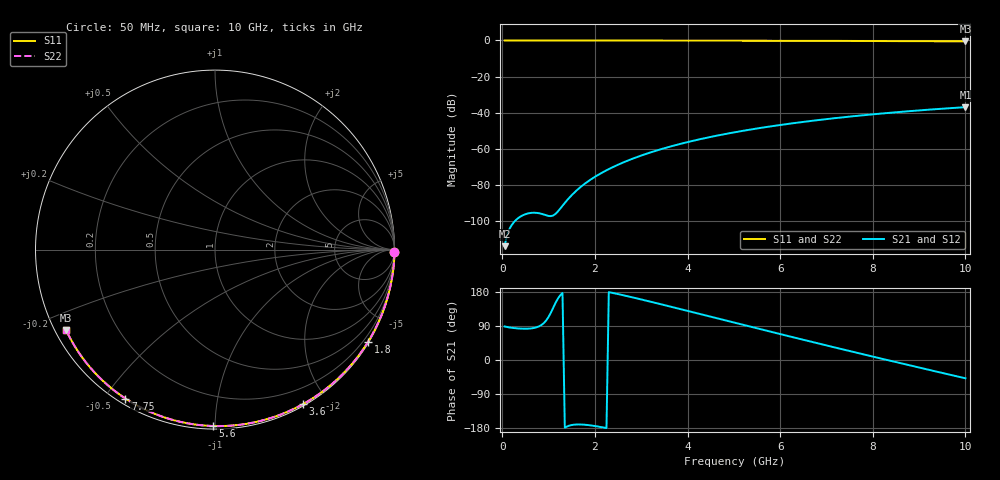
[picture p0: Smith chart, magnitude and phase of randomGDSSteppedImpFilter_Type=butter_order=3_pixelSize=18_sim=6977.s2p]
! freq	dB(S11)	phase(S11)	dB(S12)	phase(S12)
!  dB(S21)	phase(S21)	dB(S22)	phase(S22)
!S-par simulation data
#  GHz  S  DB  R 50
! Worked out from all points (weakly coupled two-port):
!   200 points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, 50 MHz to 10 GHz, reference 50 ohm
!   highest |S21| = -37.01 dB at 10 GHz (marker M1); lowest = -114.1 dB at 50 MHz (marker M2)
!   lowest |S11| = -0.5 dB at 10 GHz (marker M3), VSWR 34.09, Z = 1.56 - j12.6 ohm
!   |S11| at or under -10 dB: nowhere
!   |S22| runs from -0.5 to 0.0 dB; largest |S21 - S12| = 0
!   S11 on the Smith chart (normalised r, x): 50 MHz: open; 1.8 GHz: 0.03, -3.60; 3.6 GHz: 0.02, -1.72; 5.6 GHz: 0.02, -0.99; 7.75 GHz: 0.02, -0.57; 10 GHz: 0.03, -0.25
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0.05  -0.00 -0.9  -114.13 88.5  -114.13 88.5  -0.00 -0.9
0.45  -0.01 -7.9  -96.90 82.6  -96.90 82.6  -0.01 -7.9
0.9  -0.02 -15.7  -96.61 97.8  -96.61 97.8  -0.02 -15.7
1.3  -0.03 -22.5  -91.72 176.9  -91.72 176.9  -0.03 -22.5
1.75  -0.04 -30.2  -80.09 -170.5  -80.09 -170.5  -0.04 -30.2
1.8  -0.04 -31.0  -79.12 -171.0  -79.12 -171.0  -0.04 -31.0
1.95  -0.04 -33.5  -76.47 -173.2  -76.47 -173.2  -0.04 -33.5
2.1  -0.05 -36.1  -74.13 -176.2  -74.13 -176.2  -0.05 -36.1
2.3  -0.05 -39.4  -71.37 179.2  -71.37 179.2  -0.05 -39.4
2.5  -0.05 -42.7  -68.93 174.0  -68.93 174.0  -0.05 -42.7
2.9  -0.06 -49.3  -64.77 162.7  -64.77 162.7  -0.06 -49.2
3.4  -0.08 -57.3  -60.53 147.9  -60.53 147.9  -0.08 -57.3
3.6  -0.08 -60.5  -59.05 141.9  -59.05 141.9  -0.08 -60.5
4.3  -0.10 -71.4  -54.61 120.4  -54.61 120.4  -0.10 -71.4
5.05  -0.13 -82.7  -50.79 97.4  -50.79 97.4  -0.13 -82.7
5.6  -0.15 -90.8  -48.43 80.6  -48.43 80.6  -0.15 -90.8
6.15  -0.18 -98.7  -46.36 63.9  -46.36 63.9  -0.18 -98.7
6.7  -0.21 -106.5  -44.54 47.4  -44.54 47.4  -0.21 -106.5
7.75  -0.28 -121.0  -41.60 16.3  -41.60 16.3  -0.28 -121.0
8.35  -0.33 -129.2  -40.17 -1.2  -40.17 -1.2  -0.33 -129.1
9.2  -0.42 -140.7  -38.42 -25.6  -38.42 -25.6  -0.42 -140.7
10  -0.51 -151.7  -37.01 -48.3  -37.01 -48.3  -0.51 -151.7
